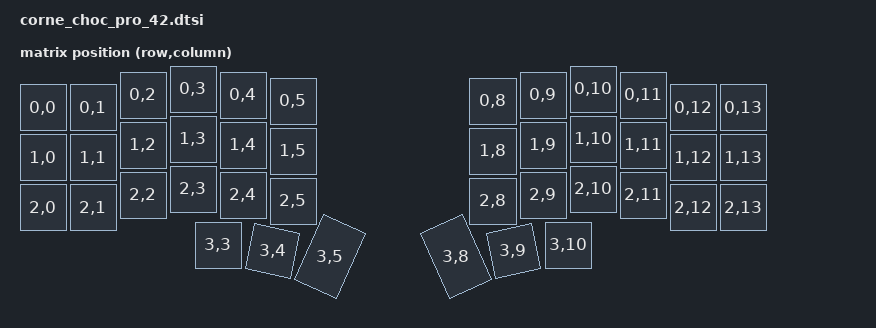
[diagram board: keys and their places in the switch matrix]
/* SPDX-License-Identifier: MIT */
/* This 42-key Corne omits the two inner switches on each half.
 * Keep the PCB's column numbers and the right half's existing col-offset.
 */
#include <dt-bindings/zmk/matrix_transform.h>

&default_transform {
    map = <
        RC(0,0) RC(0,1) RC(0,2) RC(0,3) RC(0,4) RC(0,5) RC(0,8) RC(0,9) RC(0,10) RC(0,11) RC(0,12) RC(0,13)
        RC(1,0) RC(1,1) RC(1,2) RC(1,3) RC(1,4) RC(1,5) RC(1,8) RC(1,9) RC(1,10) RC(1,11) RC(1,12) RC(1,13)
        RC(2,0) RC(2,1) RC(2,2) RC(2,3) RC(2,4) RC(2,5) RC(2,8) RC(2,9) RC(2,10) RC(2,11) RC(2,12) RC(2,13)
        RC(3,3) RC(3,4) RC(3,5) RC(3,8) RC(3,9) RC(3,10)
    >;
};

&default_layout {
    display-name = "Corne 42 keys";
    keys
        = <&key_physical_attrs 100 100    0   37       0     0     0>
        , <&key_physical_attrs 100 100  100   37       0     0     0>
        , <&key_physical_attrs 100 100  200   12       0     0     0>
        , <&key_physical_attrs 100 100  300    0       0     0     0>
        , <&key_physical_attrs 100 100  400   12       0     0     0>
        , <&key_physical_attrs 100 100  500   24       0     0     0>
        , <&key_physical_attrs 100 100  900   24       0     0     0>
        , <&key_physical_attrs 100 100 1000   12       0     0     0>
        , <&key_physical_attrs 100 100 1100    0       0     0     0>
        , <&key_physical_attrs 100 100 1200   12       0     0     0>
        , <&key_physical_attrs 100 100 1300   37       0     0     0>
        , <&key_physical_attrs 100 100 1400   37       0     0     0>
        , <&key_physical_attrs 100 100    0  137       0     0     0>
        , <&key_physical_attrs 100 100  100  137       0     0     0>
        , <&key_physical_attrs 100 100  200  112       0     0     0>
        , <&key_physical_attrs 100 100  300  100       0     0     0>
        , <&key_physical_attrs 100 100  400  112       0     0     0>
        , <&key_physical_attrs 100 100  500  124       0     0     0>
        , <&key_physical_attrs 100 100  900  124       0     0     0>
        , <&key_physical_attrs 100 100 1000  112       0     0     0>
        , <&key_physical_attrs 100 100 1100  100       0     0     0>
        , <&key_physical_attrs 100 100 1200  112       0     0     0>
        , <&key_physical_attrs 100 100 1300  137       0     0     0>
        , <&key_physical_attrs 100 100 1400  137       0     0     0>
        , <&key_physical_attrs 100 100    0  237       0     0     0>
        , <&key_physical_attrs 100 100  100  237       0     0     0>
        , <&key_physical_attrs 100 100  200  212       0     0     0>
        , <&key_physical_attrs 100 100  300  200       0     0     0>
        , <&key_physical_attrs 100 100  400  212       0     0     0>
        , <&key_physical_attrs 100 100  500  224       0     0     0>
        , <&key_physical_attrs 100 100  900  224       0     0     0>
        , <&key_physical_attrs 100 100 1000  212       0     0     0>
        , <&key_physical_attrs 100 100 1100  200       0     0     0>
        , <&key_physical_attrs 100 100 1200  212       0     0     0>
        , <&key_physical_attrs 100 100 1300  237       0     0     0>
        , <&key_physical_attrs 100 100 1400  237       0     0     0>
        , <&key_physical_attrs 100 100  350  312       0     0     0>
        , <&key_physical_attrs 100 100  450  312    1200   450   412>
        , <&key_physical_attrs 100 150  548  283    2400   548   433>
        , <&key_physical_attrs 100 150  852  283 (-2400)   952   433>
        , <&key_physical_attrs 100 100  950  312 (-1200)  1050   412>
        , <&key_physical_attrs 100 100 1050  312       0     0     0>
        ;
};

/* The separate 5-column build keeps its original layout and keymap. */
&five_col_layout { status = "disabled"; };
/delete-node/ &five_col_map;

&default_map {
    positions = <
        0 1 2 3 4 5 6 7 8 9 10 11
        12 13 14 15 16 17 18 19 20 21 22 23
        24 25 26 27 28 29 30 31 32 33 34 35
        36 37 38 39 40 41
    >;
};
